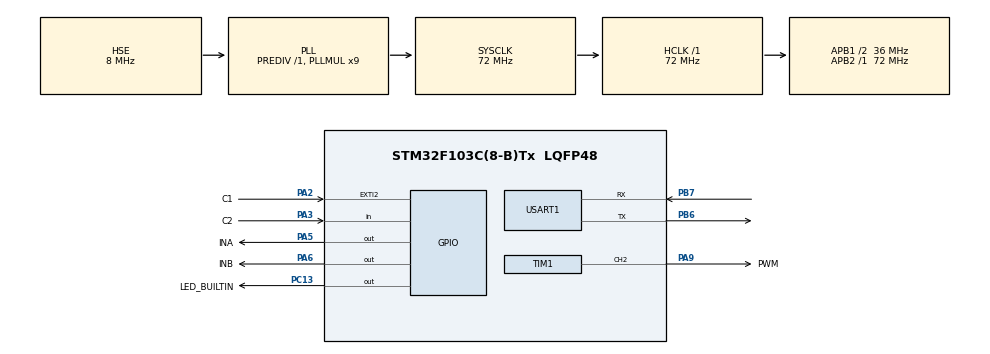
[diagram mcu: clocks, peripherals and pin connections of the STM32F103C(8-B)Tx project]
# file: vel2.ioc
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Mcu.Family=STM32F1
Mcu.Name=STM32F103C(8-B)Tx
Mcu.Package=LQFP48
NVIC.EXTI2_IRQn=true\:0\:0\:false\:false\:true\:true\:true\:true
NVIC.PriorityGroup=NVIC_PRIORITYGROUP_4
PA2.GPIO_Label=C1
PA2.GPIO_PuPd=GPIO_PULLUP
PA2.Signal=GPXTI2
PA3.GPIO_Label=C2
PA3.GPIO_PuPd=GPIO_PULLUP
PA3.Signal=GPIO_Input
PA5.GPIO_Label=INA
PA5.Signal=GPIO_Output
PA6.GPIO_Label=INB
PA6.Signal=GPIO_Output
PA9.GPIO_Label=PWM
PA9.Signal=S_TIM1_CH2
PB6.Mode=Asynchronous
PB6.Signal=USART1_TX
PB7.Mode=Asynchronous
PB7.Signal=USART1_RX
PC13-TAMPER-RTC.GPIO_Label=LED_BUILTIN
PC13-TAMPER-RTC.Signal=GPIO_Output
PD0-OSC_IN.Mode=HSE-External-Oscillator
PD0-OSC_IN.Signal=RCC_OSC_IN
PD1-OSC_OUT.Mode=HSE-External-Oscillator
PD1-OSC_OUT.Signal=RCC_OSC_OUT
ProjectManager.HeapSize=0x200
ProjectManager.StackSize=0x400
ProjectManager.TargetToolchain=STM32CubeIDE
RCC.AHBFreq_Value=72000000
RCC.APB1CLKDivider=RCC_HCLK_DIV2
RCC.APB1Freq_Value=36000000
RCC.APB1TimFreq_Value=72000000
RCC.APB2Freq_Value=72000000
RCC.APB2TimFreq_Value=72000000
RCC.HCLKFreq_Value=72000000
RCC.PLLMUL=RCC_PLL_MUL9
RCC.PLLSourceVirtual=RCC_PLLSOURCE_HSE
RCC.SYSCLKFreq_VALUE=72000000
RCC.SYSCLKSource=RCC_SYSCLKSOURCE_PLLCLK
RCC.USBFreq_Value=72000000
SH.S_TIM1_CH2.0=TIM1_CH2,PWM Generation2 CH2
TIM1.Channel-PWM\ Generation2\ CH2=TIM_CHANNEL_2
TIM1.Period=1023
TIM1.Prescaler=71
USART1.VirtualMode=VM_ASYNC
VP_SYS_VS_ND.Mode=No_Debug
board=custom

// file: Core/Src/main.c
/* USER CODE BEGIN Header */
/**
  ******************************************************************************
  * @file           : main.c
  * @brief          : Main program body
  ******************************************************************************
  * @attention
  *
  * Copyright (c) 2025 STMicroelectronics.
  * All rights reserved.
  *
  * This software is licensed under terms that can be found in the LICENSE file
  * in the root directory of this software component.
  * If no LICENSE file comes with this software, it is provided AS-IS.
  *
  ******************************************************************************
  */
/* USER CODE END Header */
#include "main.h"

/* USER CODE BEGIN Includes */
#include "stdio.h"
#include "string.h"
#include "math.h"
/* USER CODE END Includes */

TIM_HandleTypeDef htim1;

UART_HandleTypeDef huart1;

void SystemClock_Config(void);
static void MX_GPIO_Init(void);
static void MX_TIM1_Init(void);
static void MX_USART1_UART_Init(void);

/* USER CODE BEGIN 0 */
long currPos = 0;
long lastPos = 0;
float currVel = 0;
float rawVel1 = 0;
float rawVel2 = 0;
int tarVel = 0; //in pulse per second

float kp = 3;
float ki = 1.25;
float kd = 0.01;

float der=	0;
float integ=0;
float prop=	0;
uint32_t itcalls=0;
volatile long long micros = 0;

int velsArr[] = {0,1000,300,500,1000,0,-250,800,-1000};
int velArri=0;

void HAL_GPIO_EXTI_Callback(uint16_t GPIO_Pin)
{
	HAL_GPIO_TogglePin(GPIOC, GPIO_PIN_13);
	if(GPIO_Pin==C1_Pin){
		  if(HAL_GPIO_ReadPin(C2_GPIO_Port, C2_Pin))currPos--;
		  else currPos++;
	  }
}
#define GET_TIM2_COUNT()    (TIM2->CNT)
void TIM2_Init(void)
{
    RCC->APB1ENR |= RCC_APB1ENR_TIM2EN;
    TIM2->CR1 = 0;
    TIM2->PSC = 72 - 1;
    TIM2->ARR = 0xFFFF - 1;
    TIM2->CNT = 0;
    TIM2->DIER |= TIM_DIER_UIE;
    TIM2->SR &= ~TIM_SR_UIF;
    NVIC_SetPriority(TIM2_IRQn, 2);
    NVIC_EnableIRQ(TIM2_IRQn);
    TIM2->CR1 |= TIM_CR1_CEN;
}
void TIM2_IRQHandler(void)
{
    if (TIM2->SR & TIM_SR_UIF)
    {
        TIM2->SR &= ~TIM_SR_UIF;
        micros += 65535;
    }
}
long long getMicros(){
	unsigned int cnt;
	long long over1, over2;
	do {
	        over1 = micros;
	        cnt = GET_TIM2_COUNT();
	        over2 = micros;
	} while (over1 != over2);
	return over1 + cnt;
}
uint32_t millis(){ return	HAL_GetTick();}
int abs(int val){	return val >= 0 ? val : -val;}
float constrain(float val, float min, float max){
  if(val >= max) return max;
  else if(val <= min) return min;
  else return val;
}
void writeMotor(int val){
	val = (int)constrain(val,-1023,1023);
  if(val > 100){
    HAL_GPIO_WritePin(INA_GPIO_Port, INA_Pin, 1);
    HAL_GPIO_WritePin(INB_GPIO_Port, INB_Pin, 0);
    __HAL_TIM_SET_COMPARE(&htim1, TIM_CHANNEL_2, abs(val));
  }
  else if(val < -100){
    HAL_GPIO_WritePin(INA_GPIO_Port, INA_Pin, 0);
    HAL_GPIO_WritePin(INB_GPIO_Port, INB_Pin, 1);
    __HAL_TIM_SET_COMPARE(&htim1, TIM_CHANNEL_2, abs(val));
  }
  else{
    // Stop motor completely
    HAL_GPIO_WritePin(INA_GPIO_Port, INA_Pin, 0);
    HAL_GPIO_WritePin(INB_GPIO_Port, INB_Pin, 0);
    __HAL_TIM_SET_COMPARE(&htim1, TIM_CHANNEL_2, 0);
  }
}

#define VEL_FILTER_SIZE 10  // Increased from 3
float velBuffer[VEL_FILTER_SIZE];
int velIndex = 0;
/* USER CODE END 0 */

int main(void)
{

  /* MCU Configuration--------------------------------------------------------*/

  /* Reset of all peripherals, Initializes the Flash interface and the Systick. */
  HAL_Init();

  /* Configure the system clock */
  SystemClock_Config();

  /* Initialize all configured peripherals */
  MX_GPIO_Init();
  MX_TIM1_Init();
  MX_USART1_UART_Init();
  /* USER CODE BEGIN 2 */
  TIM2_Init();
  __HAL_TIM_SET_COMPARE(&htim1, TIM_CHANNEL_2, 0);
  HAL_TIM_PWM_Start(&htim1, TIM_CHANNEL_2);
  long long prevT = getMicros();
  float prevErr=0, err=0;
  //float rawVel=0;
  float dt=0;
  double velCounter=getMicros();
  int term=0;
  /* USER CODE END 2 */

  /* Infinite loop */
  while (1)
  {

    /* USER CODE BEGIN 3 */
	  char ch[25];
	  sprintf(ch, "%.1f, %d\n",currVel,tarVel);
	  HAL_UART_Transmit(&huart1, (uint8_t*)ch, strlen(ch), 5);

	  if (getMicros()-velCounter>5000000){
		  velCounter=getMicros();
		  tarVel = velsArr[velArri];
		  velArri += 1;
		  if(velArri>=9)velArri=0;
	  }

	  dt = (getMicros()-prevT) / 1000000.0;
	  	  if(dt>0.005f){
//	  		  	rawVel = (currPos-lastPos)/dt;
//	  		  	currVel = (rawVel + rawVel1 + rawVel2)/3.0;  //in pulse persecond...
				velBuffer[velIndex] = (currPos-lastPos)/dt;
				velIndex = (velIndex + 1) % VEL_FILTER_SIZE;
				float sum = 0;
				for(int i=0; i<VEL_FILTER_SIZE; i++) sum += velBuffer[i];
				currVel = sum / VEL_FILTER_SIZE;
				err = tarVel-currVel;
				integ += err*dt;
				integ = constrain(integ,-1000,1000);
				der = (err-prevErr)/dt;

				term = kp*err + ki*integ + kd*der;
				term = term>1023?1023:term<-1023?-1023:term;
				//if(tarVel<200 && tarVel>-200){term=0;}
				writeMotor(term);

				lastPos = currPos;
//	  		  	rawVel2 = rawVel1;
//	  		  	rawVel1 = rawVel;
				prevErr=err;
				prevT = getMicros();
	  		  //currVel = currPos/(totalTime*1000.0);
	  	  }

  }
  /* USER CODE END 3 */
}

void SystemClock_Config(void)
{
  RCC_OscInitTypeDef RCC_OscInitStruct = {0};
  RCC_ClkInitTypeDef RCC_ClkInitStruct = {0};

  /** Initializes the RCC Oscillators according to the specified parameters
  * in the RCC_OscInitTypeDef structure.
  */
  RCC_OscInitStruct.OscillatorType = RCC_OSCILLATORTYPE_HSE;
  RCC_OscInitStruct.HSEState = RCC_HSE_ON;
  RCC_OscInitStruct.HSEPredivValue = RCC_HSE_PREDIV_DIV1;
  RCC_OscInitStruct.HSIState = RCC_HSI_ON;
  RCC_OscInitStruct.PLL.PLLState = RCC_PLL_ON;
  RCC_OscInitStruct.PLL.PLLSource = RCC_PLLSOURCE_HSE;
  RCC_OscInitStruct.PLL.PLLMUL = RCC_PLL_MUL9;
  if (HAL_RCC_OscConfig(&RCC_OscInitStruct) != HAL_OK)
  {
    Error_Handler();
  }

  /** Initializes the CPU, AHB and APB buses clocks
  */
  RCC_ClkInitStruct.ClockType = RCC_CLOCKTYPE_HCLK|RCC_CLOCKTYPE_SYSCLK
                              |RCC_CLOCKTYPE_PCLK1|RCC_CLOCKTYPE_PCLK2;
  RCC_ClkInitStruct.SYSCLKSource = RCC_SYSCLKSOURCE_PLLCLK;
  RCC_ClkInitStruct.AHBCLKDivider = RCC_SYSCLK_DIV1;
  RCC_ClkInitStruct.APB1CLKDivider = RCC_HCLK_DIV2;
  RCC_ClkInitStruct.APB2CLKDivider = RCC_HCLK_DIV1;

  if (HAL_RCC_ClockConfig(&RCC_ClkInitStruct, FLASH_LATENCY_2) != HAL_OK)
  {
    Error_Handler();
  }
}

static void MX_TIM1_Init(void)
{

  TIM_MasterConfigTypeDef sMasterConfig = {0};
  TIM_OC_InitTypeDef sConfigOC = {0};
  TIM_BreakDeadTimeConfigTypeDef sBreakDeadTimeConfig = {0};

  htim1.Instance = TIM1;
  htim1.Init.Prescaler = 71;
  htim1.Init.CounterMode = TIM_COUNTERMODE_UP;
  htim1.Init.Period = 1023;
  htim1.Init.ClockDivision = TIM_CLOCKDIVISION_DIV1;
  htim1.Init.RepetitionCounter = 0;
  htim1.Init.AutoReloadPreload = TIM_AUTORELOAD_PRELOAD_DISABLE;
  if (HAL_TIM_PWM_Init(&htim1) != HAL_OK)
  {
    Error_Handler();
  }
  sMasterConfig.MasterOutputTrigger = TIM_TRGO_RESET;
  sMasterConfig.MasterSlaveMode = TIM_MASTERSLAVEMODE_DISABLE;
  if (HAL_TIMEx_MasterConfigSynchronization(&htim1, &sMasterConfig) != HAL_OK)
  {
    Error_Handler();
  }
  sConfigOC.OCMode = TIM_OCMODE_PWM1;
  sConfigOC.Pulse = 0;
  sConfigOC.OCPolarity = TIM_OCPOLARITY_HIGH;
  sConfigOC.OCNPolarity = TIM_OCNPOLARITY_HIGH;
  sConfigOC.OCFastMode = TIM_OCFAST_DISABLE;
  sConfigOC.OCIdleState = TIM_OCIDLESTATE_RESET;
  sConfigOC.OCNIdleState = TIM_OCNIDLESTATE_RESET;
  if (HAL_TIM_PWM_ConfigChannel(&htim1, &sConfigOC, TIM_CHANNEL_2) != HAL_OK)
  {
    Error_Handler();
  }
  sBreakDeadTimeConfig.OffStateRunMode = TIM_OSSR_DISABLE;
  sBreakDeadTimeConfig.OffStateIDLEMode = TIM_OSSI_DISABLE;
  sBreakDeadTimeConfig.LockLevel = TIM_LOCKLEVEL_OFF;
  sBreakDeadTimeConfig.DeadTime = 0;
  sBreakDeadTimeConfig.BreakState = TIM_BREAK_DISABLE;
  sBreakDeadTimeConfig.BreakPolarity = TIM_BREAKPOLARITY_HIGH;
  sBreakDeadTimeConfig.AutomaticOutput = TIM_AUTOMATICOUTPUT_DISABLE;
  if (HAL_TIMEx_ConfigBreakDeadTime(&htim1, &sBreakDeadTimeConfig) != HAL_OK)
  {
    Error_Handler();
  }
  HAL_TIM_MspPostInit(&htim1);

}

static void MX_USART1_UART_Init(void)
{

  huart1.Instance = USART1;
  huart1.Init.BaudRate = 115200;
  huart1.Init.WordLength = UART_WORDLENGTH_8B;
  huart1.Init.StopBits = UART_STOPBITS_1;
  huart1.Init.Parity = UART_PARITY_NONE;
  huart1.Init.Mode = UART_MODE_TX_RX;
  huart1.Init.HwFlowCtl = UART_HWCONTROL_NONE;
  huart1.Init.OverSampling = UART_OVERSAMPLING_16;
  if (HAL_UART_Init(&huart1) != HAL_OK)
  {
    Error_Handler();
  }

}

static void MX_GPIO_Init(void)
{
  GPIO_InitTypeDef GPIO_InitStruct = {0};

  /* GPIO Ports Clock Enable */
  __HAL_RCC_GPIOC_CLK_ENABLE();
  __HAL_RCC_GPIOD_CLK_ENABLE();
  __HAL_RCC_GPIOA_CLK_ENABLE();
  __HAL_RCC_GPIOB_CLK_ENABLE();

  /*Configure GPIO pin Output Level */
  HAL_GPIO_WritePin(LED_BUILTIN_GPIO_Port, LED_BUILTIN_Pin, GPIO_PIN_RESET);

  /*Configure GPIO pin Output Level */
  HAL_GPIO_WritePin(GPIOA, INA_Pin|INB_Pin, GPIO_PIN_RESET);

  /*Configure GPIO pin : LED_BUILTIN_Pin */
  GPIO_InitStruct.Pin = LED_BUILTIN_Pin;
  GPIO_InitStruct.Mode = GPIO_MODE_OUTPUT_PP;
  GPIO_InitStruct.Pull = GPIO_NOPULL;
  GPIO_InitStruct.Speed = GPIO_SPEED_FREQ_LOW;
  HAL_GPIO_Init(LED_BUILTIN_GPIO_Port, &GPIO_InitStruct);

  /*Configure GPIO pin : C1_Pin */
  GPIO_InitStruct.Pin = C1_Pin;
  GPIO_InitStruct.Mode = GPIO_MODE_IT_RISING;
  GPIO_InitStruct.Pull = GPIO_PULLUP;
  HAL_GPIO_Init(C1_GPIO_Port, &GPIO_InitStruct);

  /*Configure GPIO pin : C2_Pin */
  GPIO_InitStruct.Pin = C2_Pin;
  GPIO_InitStruct.Mode = GPIO_MODE_INPUT;
  GPIO_InitStruct.Pull = GPIO_PULLUP;
  HAL_GPIO_Init(C2_GPIO_Port, &GPIO_InitStruct);

  /*Configure GPIO pins : INA_Pin INB_Pin */
  GPIO_InitStruct.Pin = INA_Pin|INB_Pin;
  GPIO_InitStruct.Mode = GPIO_MODE_OUTPUT_PP;
  GPIO_InitStruct.Pull = GPIO_NOPULL;
  GPIO_InitStruct.Speed = GPIO_SPEED_FREQ_LOW;
  HAL_GPIO_Init(GPIOA, &GPIO_InitStruct);

  /* EXTI interrupt init*/
  HAL_NVIC_SetPriority(EXTI2_IRQn, 0, 0);
  HAL_NVIC_EnableIRQ(EXTI2_IRQn);

}

void Error_Handler(void)
{
  __disable_irq();
  while (1)
  {
  }
}
